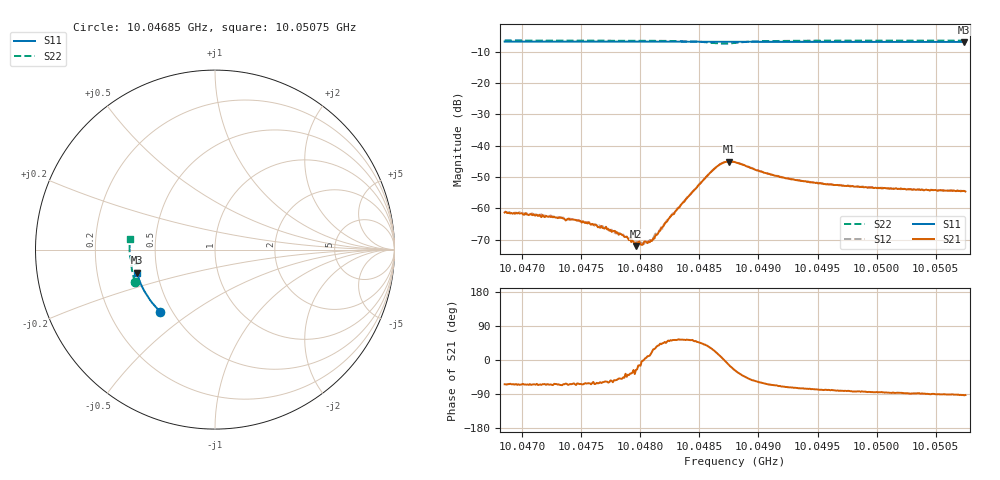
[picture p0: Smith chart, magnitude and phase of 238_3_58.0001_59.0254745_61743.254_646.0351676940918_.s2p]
#  HZ  S  RI  R  50.00
! Rohde & Schwarz Vector Network Analyzer
! Rohde-Schwarz,ZNB20-2Port,1311601062101988,3.16
! Created: UTC 3/21/2024, 1:00:57 AM
! freq[Hz]  re:S11  im:S11  re:S21  im:S21  re:S12  im:S12  re:S22  im:S22
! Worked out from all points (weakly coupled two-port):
!   401 points, 10.04685 GHz to 10.05075 GHz, reference 50 ohm
!   highest |S21| = -45.07 dB at 10.04875 GHz (marker M1); lowest = -72.0 dB at 10.04796 GHz (marker M2)
!   lowest |S11| = -6.9 dB at 10.05074 GHz (marker M3), VSWR 2.66, Z = 19.1 - j6.21 ohm
!   |S11| at or under -10 dB: nowhere
!   |S22| runs from -7.4 to -6.4 dB; largest |S21 - S12| = 0.0004
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1.0046854e10  -0.3048 -0.3456  0.000375 -0.000772  0.000444 -0.000777  -0.4445 -0.18
1.0047224e10  -0.3222 -0.3283  0.000314 -0.000659  0.000376 -0.000655  -0.4525 -0.1558
1.0047506e10  -0.3348 -0.3144  0.000257 -0.000535  0.000311 -0.000551  -0.4579 -0.1368
1.0047701e10  -0.3434 -0.3046  0.00026 -0.000398  0.000281 -0.000389  -0.461 -0.1233
1.0047789e10  -0.3468 -0.3001  0.000258 -0.000349  0.000266 -0.000299  -0.4624 -0.1169
1.0047838e10  -0.3489 -0.2976  0.000254 -0.000296  0.00028 -0.000263  -0.4628 -0.1133
1.0047964e10  -0.354 -0.2911  0.000225 -0.00011  0.000267 -0.000109  -0.4643 -0.1035
1.0048003e10  -0.3557 -0.2889  0.000257 -7e-05  0.000267 -5.45e-05  -0.4646 -0.1003
1.0048052e10  -0.3576 -0.2864  0.000286 3.04e-05  0.000276 4.14e-05  -0.4649 -0.0967
1.0048101e10  -0.3595 -0.2839  0.00028 0.000113  0.00029 0.000158  -0.4652 -0.0925
1.0048159e10  -0.3619 -0.2808  0.000333 0.000268  0.000333 0.000283  -0.4654 -0.0874
1.0048256e10  -0.3656 -0.2755  0.000454 0.000585  0.000423 0.000599  -0.4648 -0.0785
1.0048597e10  -0.3781 -0.2567  0.00323 0.00198  0.00311 0.00216  -0.4387 -0.0469
1.0048675e10  -0.3804 -0.2524  0.00496 0.000947  0.00492 0.00123  -0.4243 -0.0542
1.0048753e10  -0.3828 -0.2482  0.00542 -0.0013  0.00556 -0.000957  -0.4234 -0.0717
1.0048802e10  -0.3847 -0.2456  0.00486 -0.00253  0.00503 -0.00221  -0.4309 -0.0792
1.0049104e10  -0.3949 -0.2286  0.00145 -0.00315  0.00165 -0.00306  -0.4664 -0.061
1.0049455e10  -0.4055 -0.2079  0.000599 -0.00252  0.00073 -0.00253  -0.4742 -0.0307
1.0049727e10  -0.4131 -0.1917  0.000346 -0.00226  0.000478 -0.00228  -0.476 -0.01
1.0050107e10  -0.4224 -0.1684  0.000125 -0.00205  0.000273 -0.00206  -0.4761 0.017
1.005074e10  -0.435 -0.1289  -0.000108 -0.00189  2.77e-05 -0.0019  -0.4724 0.0601
1.005075e10  -0.4353 -0.1283  -7.95e-05 -0.00185  3.82e-05 -0.0019  -0.4722 0.0606
